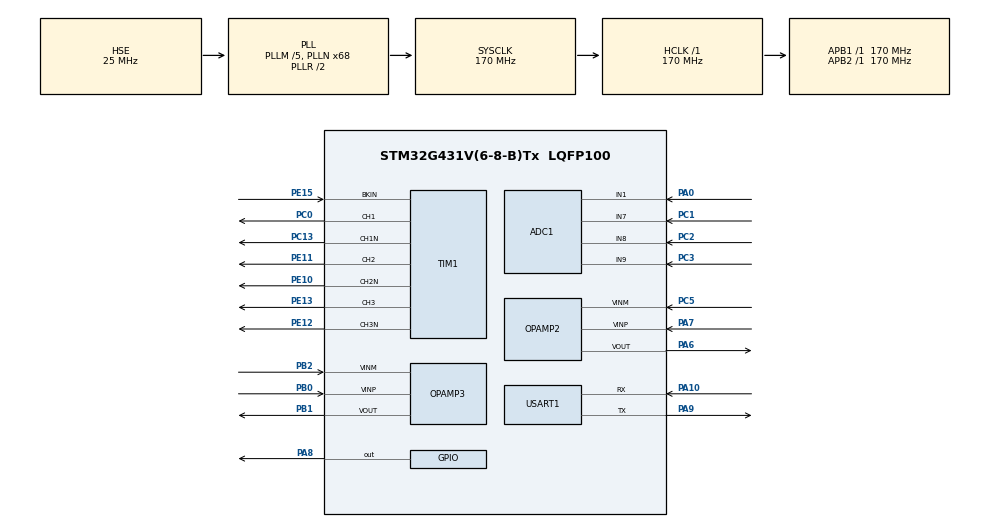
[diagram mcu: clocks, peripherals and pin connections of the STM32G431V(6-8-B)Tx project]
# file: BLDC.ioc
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ADC1.Channel-0\#ChannelRegularConversion=ADC_CHANNEL_1
ADC1.Channel-1\#ChannelRegularConversion=ADC_CHANNEL_7
ADC1.Channel-2\#ChannelRegularConversion=ADC_CHANNEL_8
ADC1.Channel-3\#ChannelRegularConversion=ADC_CHANNEL_9
ADC1.Channel-4\#ChannelRegularConversion=ADC_CHANNEL_12
ADC1.ContinuousConvMode=ENABLE
ADC1.DMAContinuousRequests=ENABLE
ADC1.NbrOfConversion=5
ADC1.NbrOfConversionFlag=1
ADC1.OffsetNumber-0\#ChannelRegularConversion=ADC_OFFSET_NONE
ADC1.OffsetNumber-1\#ChannelRegularConversion=ADC_OFFSET_NONE
ADC1.OffsetNumber-2\#ChannelRegularConversion=ADC_OFFSET_NONE
ADC1.OffsetNumber-3\#ChannelRegularConversion=ADC_OFFSET_NONE
ADC1.OffsetNumber-4\#ChannelRegularConversion=ADC_OFFSET_NONE
ADC1.Rank-0\#ChannelRegularConversion=1
ADC1.Rank-1\#ChannelRegularConversion=2
ADC1.Rank-2\#ChannelRegularConversion=3
ADC1.Rank-3\#ChannelRegularConversion=4
ADC1.Rank-4\#ChannelRegularConversion=5
ADC1.SamplingTime-0\#ChannelRegularConversion=ADC_SAMPLETIME_47CYCLES_5
ADC1.SamplingTime-1\#ChannelRegularConversion=ADC_SAMPLETIME_47CYCLES_5
ADC1.SamplingTime-2\#ChannelRegularConversion=ADC_SAMPLETIME_47CYCLES_5
ADC1.SamplingTime-3\#ChannelRegularConversion=ADC_SAMPLETIME_47CYCLES_5
ADC1.SamplingTime-4\#ChannelRegularConversion=ADC_SAMPLETIME_47CYCLES_5
ADC1.master=1
ADC2.Channel-1\#ChannelRegularConversion=ADC_CHANNEL_3
ADC2.NbrOfConversionFlag=1
ADC2.OffsetNumber-1\#ChannelRegularConversion=ADC_OFFSET_NONE
ADC2.Rank-1\#ChannelRegularConversion=1
ADC2.SamplingTime-1\#ChannelRegularConversion=ADC_SAMPLETIME_2CYCLES_5
Dma.ADC1.0.Direction=DMA_PERIPH_TO_MEMORY
Dma.ADC1.0.EventEnable=DISABLE
Dma.ADC1.0.Instance=DMA1_Channel1
Dma.ADC1.0.MemDataAlignment=DMA_MDATAALIGN_HALFWORD
Dma.ADC1.0.MemInc=DMA_MINC_ENABLE
Dma.ADC1.0.Mode=DMA_CIRCULAR
Dma.ADC1.0.PeriphDataAlignment=DMA_PDATAALIGN_HALFWORD
Dma.ADC1.0.PeriphInc=DMA_PINC_DISABLE
Dma.ADC1.0.Polarity=HAL_DMAMUX_REQ_GEN_RISING
Dma.ADC1.0.Priority=DMA_PRIORITY_LOW
Dma.ADC1.0.RequestNumber=1
Dma.ADC1.0.SignalID=NONE
Dma.ADC1.0.SyncEnable=DISABLE
Dma.ADC1.0.SyncPolarity=HAL_DMAMUX_SYNC_NO_EVENT
Dma.ADC1.0.SyncRequestNumber=1
Dma.ADC1.0.SyncSignalID=NONE
Dma.Request0=ADC1
Mcu.Family=STM32G4
Mcu.Name=STM32G431V(6-8-B)Tx
Mcu.Package=LQFP100
NVIC.DMA1_Channel1_IRQn=true\:0\:0\:false\:false\:true\:false\:true\:true
NVIC.PriorityGroup=NVIC_PRIORITYGROUP_4
NVIC.TIM1_BRK_TIM15_IRQn=true\:0\:0\:false\:false\:true\:true\:true\:true
NVIC.TIM1_UP_TIM16_IRQn=true\:0\:0\:false\:false\:true\:true\:true\:true
PA0.Mode=IN1-Single-Ended
PA0.Signal=ADC1_IN1
PA10.Mode=Asynchronous
PA10.Signal=USART1_RX
PA13.Mode=Serial_Wire
PA13.Signal=SYS_JTMS-SWDIO
PA14.Mode=Serial_Wire
PA14.Signal=SYS_JTCK-SWCLK
PA6.Signal=SharedAnalog_PA6
PA7.Mode=Standalone
PA7.Signal=OPAMP2_VINP
PA8.Signal=GPIO_Output
PA9.Mode=Asynchronous
PA9.Signal=USART1_TX
PB0.Mode=Standalone
PB0.Signal=OPAMP3_VINP
PB1.Signal=SharedAnalog_PB1
PB2.Mode=Standalone
PB2.Signal=OPAMP3_VINM
PC0.Signal=S_TIM1_CH1
PC1.Mode=IN7-Single-Ended
PC1.Signal=ADC1_IN7
PC13.Mode=PWM Generation1 CH1 CH1N
PC13.Signal=TIM1_CH1N
PC2.Mode=IN8-Single-Ended
PC2.Signal=ADC1_IN8
PC3.Mode=IN9-Single-Ended
PC3.Signal=ADC1_IN9
PC5.Mode=Standalone
PC5.Signal=OPAMP2_VINM
PE10.Mode=PWM Generation2 CH2 CH2N
PE10.Signal=TIM1_CH2N
PE11.Signal=S_TIM1_CH2
PE12.Mode=PWM Generation3 CH3 CH3N
PE12.Signal=TIM1_CH3N
PE13.Signal=S_TIM1_CH3
PE15.Mode=Activate-Break-Input
PE15.Signal=TIM1_BKIN
PF0-OSC_IN.Mode=HSE-External-Oscillator
PF0-OSC_IN.Signal=RCC_OSC_IN
PF1-OSC_OUT.Mode=HSE-External-Oscillator
PF1-OSC_OUT.Signal=RCC_OSC_OUT
ProjectManager.HeapSize=0x200
ProjectManager.StackSize=0x400
ProjectManager.TargetToolchain=STM32CubeIDE
RCC.ADC12Freq_Value=170000000
RCC.AHBFreq_Value=170000000
RCC.APB1Freq_Value=170000000
RCC.APB1TimFreq_Value=170000000
RCC.APB2Freq_Value=170000000
RCC.APB2TimFreq_Value=170000000
RCC.CortexFreq_Value=170000000
RCC.EXTERNAL_CLOCK_VALUE=12288000
RCC.HCLKFreq_Value=170000000
RCC.HSE_VALUE=25000000
RCC.HSI48_VALUE=48000000
RCC.HSI_VALUE=16000000
RCC.LSE_VALUE=32768
RCC.PLLM=RCC_PLLM_DIV5
RCC.PLLN=68
RCC.PLLSourceVirtual=RCC_PLLSOURCE_HSE
RCC.SYSCLKFreq_VALUE=170000000
RCC.SYSCLKSource=RCC_SYSCLKSOURCE_PLLCLK
RCC.USBFreq_Value=170000000
RCC.VCOOutputFreq_Value=340000000
SH.S_TIM1_CH1.0=TIM1_CH1,PWM Generation1 CH1 CH1N
SH.S_TIM1_CH2.0=TIM1_CH2,PWM Generation2 CH2 CH2N
SH.S_TIM1_CH3.0=TIM1_CH3,PWM Generation3 CH3 CH3N
SH.SharedAnalog_PA6.0=OPAMP2_VOUT,Standalone
SH.SharedAnalog_PA6.1=ADC2_IN3,IN3-Single-Ended
SH.SharedAnalog_PB1.0=OPAMP3_VOUT,Standalone
SH.SharedAnalog_PB1.1=ADC1_IN12,IN12-Single-Ended
TIM1.Channel-PWM\ Generation1\ CH1\ CH1N=TIM_CHANNEL_1
TIM1.Channel-PWM\ Generation2\ CH2\ CH2N=TIM_CHANNEL_2
TIM1.Channel-PWM\ Generation3\ CH3\ CH3N=TIM_CHANNEL_3
TIM1.Channel-PWM\ Generation4\ No\ Output=TIM_CHANNEL_4
TIM1.CounterMode=TIM_COUNTERMODE_CENTERALIGNED1
TIM1.DeadTime=((DEAD_TIME_COUNTS) / 2)
TIM1.PeriodNoDither=((PWM_PERIOD_CYCLES) / 2)
TIM1.Prescaler=((TIM_CLOCK_DIVIDER) - 1)
TIM1.PulseNoDither_2=((PWM_PERIOD_CYCLES) / 4)
TIM1.PulseNoDither_3=((PWM_PERIOD_CYCLES) / 4)
TIM1.PulseNoDither_4=(((PWM_PERIOD_CYCLES) / 2) - (HTMIN))
TIM1.RepetitionCounter=(REP_COUNTER)
USART1.VirtualMode-Asynchronous=VM_ASYNC
VP_SYS_VS_DBSignals.Mode=DisableDeadBatterySignals
VP_TIM1_VS_no_output4.Mode=PWM Generation4 No Output
board=custom

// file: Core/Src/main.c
/* USER CODE BEGIN Header */
/**
  ******************************************************************************
  * @file           : main.c
  * @brief          : Main program body
  ******************************************************************************
  * @attention
  *
  * Copyright (c) 2026 STMicroelectronics.
  * All rights reserved.
  *
  * This software is licensed under terms that can be found in the LICENSE file
  * in the root directory of this software component.
  * If no LICENSE file comes with this software, it is provided AS-IS.
  *
  ******************************************************************************
  */
/* USER CODE END Header */
#include "main.h"
#include "adc.h"
#include "dma.h"
#include "opamp.h"
#include "tim.h"
#include "usart.h"
#include "gpio.h"

/* USER CODE BEGIN Includes */
#include <stdio.h>
/* USER CODE END Includes */

void SystemClock_Config(void);

/* USER CODE BEGIN 0 */
#define ADC_BUFFER_SIZE 5   // ???? 10 ???????? ??? � ????

// ?????? uint32_t??? HAL ??? 32 ??? ADC_DR
uint16_t adc_buffer[ADC_BUFFER_SIZE];
float bus_voltage = 0;
void HAL_ADC_ConvCpltCallback(ADC_HandleTypeDef* hadc)
{
  if (hadc->Instance == ADC1)
  {
    bus_voltage = adc_buffer[0]*3.3f/4095*13;

    // ????????Circular ????????????
    // ????? adc_buffer ??
  }
}

/* USER CODE END 0 */

int main(void)
{

  /* MCU Configuration--------------------------------------------------------*/

  /* Reset of all peripherals, Initializes the Flash interface and the Systick. */
  HAL_Init();

  /* Configure the system clock */
  SystemClock_Config();

  /* Initialize all configured peripherals */
  MX_GPIO_Init();
  MX_DMA_Init();
  MX_ADC1_Init();
  MX_ADC2_Init();
  MX_OPAMP2_Init();
  MX_OPAMP3_Init();
  MX_TIM1_Init();
  MX_USART1_UART_Init();
  /* USER CODE BEGIN 2 */
  if (HAL_ADCEx_Calibration_Start(&hadc1, ADC_SINGLE_ENDED) != HAL_OK)
  {
    Error_Handler();
  }
  if (HAL_ADC_Start_DMA(&hadc1, (uint32_t*)adc_buffer, ADC_BUFFER_SIZE) != HAL_OK)
  {
    Error_Handler();
  }
  /* USER CODE END 2 */

  /* Infinite loop */
  /* USER CODE BEGIN WHILE */
  while (1)
  {
    HAL_GPIO_TogglePin(GPIOA,GPIO_PIN_8);
    char num[30];
    sprintf(num,"bus_voltage:%f\n",bus_voltage);
    HAL_UART_Transmit(&huart1,num,30,HAL_MAX_DELAY);
    HAL_Delay(1000);
    /* USER CODE END WHILE */

  }
}

void SystemClock_Config(void)
{
  RCC_OscInitTypeDef RCC_OscInitStruct = {0};
  RCC_ClkInitTypeDef RCC_ClkInitStruct = {0};

  /** Configure the main internal regulator output voltage
  */
  HAL_PWREx_ControlVoltageScaling(PWR_REGULATOR_VOLTAGE_SCALE1_BOOST);

  /** Initializes the RCC Oscillators according to the specified parameters
  * in the RCC_OscInitTypeDef structure.
  */
  RCC_OscInitStruct.OscillatorType = RCC_OSCILLATORTYPE_HSE;
  RCC_OscInitStruct.HSEState = RCC_HSE_ON;
  RCC_OscInitStruct.PLL.PLLState = RCC_PLL_ON;
  RCC_OscInitStruct.PLL.PLLSource = RCC_PLLSOURCE_HSE;
  RCC_OscInitStruct.PLL.PLLM = RCC_PLLM_DIV5;
  RCC_OscInitStruct.PLL.PLLN = 68;
  RCC_OscInitStruct.PLL.PLLP = RCC_PLLP_DIV2;
  RCC_OscInitStruct.PLL.PLLQ = RCC_PLLQ_DIV2;
  RCC_OscInitStruct.PLL.PLLR = RCC_PLLR_DIV2;
  if (HAL_RCC_OscConfig(&RCC_OscInitStruct) != HAL_OK)
  {
    Error_Handler();
  }

  /** Initializes the CPU, AHB and APB buses clocks
  */
  RCC_ClkInitStruct.ClockType = RCC_CLOCKTYPE_HCLK|RCC_CLOCKTYPE_SYSCLK
                              |RCC_CLOCKTYPE_PCLK1|RCC_CLOCKTYPE_PCLK2;
  RCC_ClkInitStruct.SYSCLKSource = RCC_SYSCLKSOURCE_PLLCLK;
  RCC_ClkInitStruct.AHBCLKDivider = RCC_SYSCLK_DIV1;
  RCC_ClkInitStruct.APB1CLKDivider = RCC_HCLK_DIV1;
  RCC_ClkInitStruct.APB2CLKDivider = RCC_HCLK_DIV1;

  if (HAL_RCC_ClockConfig(&RCC_ClkInitStruct, FLASH_LATENCY_4) != HAL_OK)
  {
    Error_Handler();
  }
}

void Error_Handler(void)
{
  __disable_irq();
  while (1)
  {
  }
}
